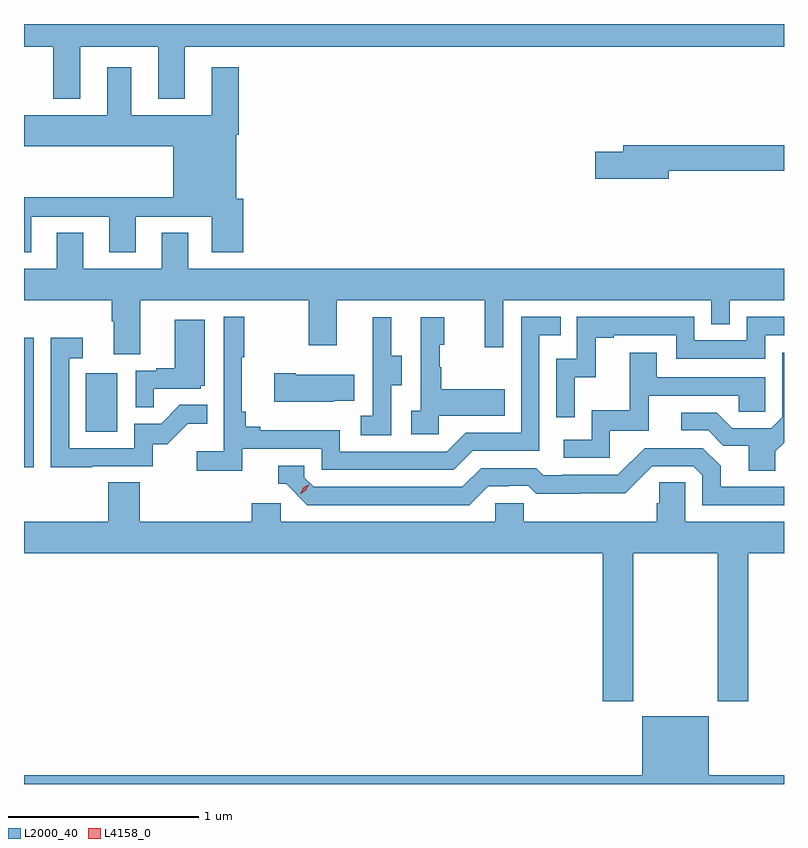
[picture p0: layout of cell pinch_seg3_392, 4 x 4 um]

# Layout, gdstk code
import gdstk
lib = gdstk.Library(unit=1e-6, precision=1e-09)
def R(c, l, rs):  # rectangles x0, y0, x1, y1
    for r in rs: c.add(gdstk.rectangle(r[:2], r[2:], *l))
def P(c, l, *ps):  # polygons
    for p in ps: c.add(gdstk.Polygon(p, *l))
L2000_40 = (2000, 40)
L4158_0 = (4158, 0)

pinch_seg3_392 = lib.new_cell('pinch_seg3_392')
R(pinch_seg3_392, L2000_40, [(925.122,693.376,925.173,694.057), (925.448,693.564,925.612,693.871)])
P(pinch_seg3_392, L2000_40, [(925.417,695.588),(925.829,695.588),(925.829,695.315),(925.969,695.315),(925.969,695.588),(929.122,695.588),(929.122,695.709),(925.122,695.709),(925.122,695.588),(925.277,695.588),(925.277,695.315),(925.417,695.315)],
  [(925.159,694.695),(925.571,694.695),(925.571,694.509),(925.711,694.509),(925.711,694.695),(926.111,694.695),(926.111,694.509),(926.276,694.509),(926.276,694.788),(926.239,694.788),(926.239,695.126),(926.252,695.126),(926.252,695.482),(926.111,695.482),(926.111,695.23),(925.687,695.23),(925.687,695.482),(925.559,695.482),(925.559,695.23),(925.122,695.23),(925.122,695.066),(925.907,695.066),(925.907,694.796),(925.122,694.796),(925.122,694.509),(925.159,694.509)],
  [(928.516,694.936),(929.122,694.936),(929.122,695.072),(928.277,695.072),(928.277,695.036),(928.128,695.036),(928.128,694.894),(928.516,694.894)],
  [(925.735,694.256),(926.62,694.256),(926.62,694.017),(926.767,694.017),(926.767,694.256),(927.548,694.256),(927.548,694.008),(927.645,694.008),(927.645,694.256),(928.74,694.256),(928.74,694.129),(928.836,694.129),(928.836,694.256),(929.122,694.256),(929.122,694.42),(925.987,694.42),(925.987,694.61),(925.847,694.61),(925.847,694.42),(925.435,694.42),(925.435,694.61),(925.295,694.61),(925.295,694.42),(925.122,694.42),(925.122,694.256),(925.583,694.256),(925.583,694.144),(925.595,694.144),(925.595,693.97),(925.735,693.97)],
  [(926.27,693.474),(926.688,693.474),(926.688,693.363),(927.385,693.363),(927.484,693.462),(927.834,693.462),(927.834,694.071),(927.947,694.071),(927.947,694.167),(927.738,694.167),(927.738,693.558),(927.447,693.558),(927.348,693.459),(926.784,693.459),(926.784,693.571),(926.365,693.571),(926.365,693.59),(926.288,693.59),(926.288,693.667),(926.269,693.667),(926.269,693.955),(926.281,693.955),(926.281,694.168),(926.172,694.168),(926.172,693.46),(926.031,693.46),(926.031,693.358),(926.27,693.358)],
  [(928.02,693.851),(928.13,693.851),(928.13,694.059),(928.225,694.059),(928.225,694.071),(928.554,694.071),(928.554,693.948),(929.022,693.948),(929.022,694.071),(929.122,694.071),(929.122,694.167),(928.926,694.167),(928.926,694.044),(928.65,694.044),(928.65,694.167),(928.032,694.167),(928.032,693.948),(927.924,693.948),(927.924,693.639),(928.02,693.639)],
  [(927.054,693.808),(927.109,693.808),(927.109,693.963),(927.055,693.963),(927.055,694.165),(926.957,694.165),(926.957,693.951),(926.958,693.951),(926.958,693.647),(926.895,693.647),(926.895,693.544),(927.054,693.544)],
  [(927.306,693.647),(927.653,693.647),(927.653,693.787),(927.319,693.787),(927.319,693.902),(927.309,693.902),(927.309,694.02),(927.334,694.02),(927.334,694.165),(927.21,694.165),(927.21,693.674),(927.159,693.674),(927.159,693.549),(927.306,693.549)],
  [(925.805,693.789),(926.052,693.789),(926.052,693.804),(926.074,693.804),(926.074,694.153),(925.916,694.153),(925.916,693.898),(925.817,693.898),(925.817,693.885),(925.71,693.885),(925.71,693.691),(925.805,693.691)],
  [(925.481,693.381),(925.8,693.381),(925.8,693.498),(925.876,693.498),(925.983,693.605),(926.087,693.605),(926.087,693.704),(925.943,693.704),(925.845,693.606),(925.701,693.606),(925.701,693.477),(925.359,693.477),(925.359,693.951),(925.432,693.951),(925.432,694.057),(925.263,694.057),(925.263,693.376),(925.481,693.376)],
  [(928.206,693.567),(928.411,693.567),(928.411,693.753),(928.885,693.753),(928.885,693.669),(929.022,693.669),(929.022,693.849),(928.453,693.849),(928.453,693.979),(928.309,693.979),(928.309,693.676),(928.11,693.676),(928.11,693.522),(927.963,693.522),(927.963,693.426),(928.206,693.426)],
  [(929.077,693.46),(929.122,693.505),(929.122,693.979),(929.112,693.979),(929.112,693.639),(929.055,693.582),(928.849,693.582),(928.768,693.663),(928.581,693.663),(928.581,693.57),(928.722,693.57),(928.802,693.49),(928.937,693.49),(928.937,693.358),(929.077,693.358)],
  [(926.753,693.725),(926.861,693.725),(926.861,693.862),(926.551,693.862),(926.551,693.87),(926.439,693.87),(926.439,693.722),(926.753,693.722)],
  [(927.565,693.276),(927.672,693.276),(927.672,693.279),(927.775,693.279),(927.817,693.237),(928.05,693.237),(928.05,693.239),(928.286,693.239),(928.428,693.381),(928.644,693.381),(928.692,693.333),(928.692,693.177),(929.122,693.177),(929.122,693.273),(928.789,693.273),(928.789,693.383),(928.695,693.477),(928.389,693.477),(928.248,693.336),(927.955,693.336),(927.955,693.333),(927.856,693.333),(927.817,693.372),(927.528,693.372),(927.429,693.273),(926.646,693.273),(926.598,693.321),(926.598,693.384),(926.459,693.384),(926.459,693.288),(926.502,693.288),(926.613,693.177),(927.466,693.177)],
  [(928.329,692.924),(928.774,692.924),(928.774,692.145),(928.934,692.145),(928.934,692.924),(929.122,692.924),(929.122,693.088),(928.602,693.088),(928.602,693.296),(928.465,693.296),(928.465,693.186),(928.451,693.186),(928.451,693.088),(927.753,693.088),(927.753,693.186),(927.603,693.186),(927.603,693.088),(926.472,693.088),(926.472,693.186),(926.321,693.186),(926.321,693.088),(925.73,693.088),(925.73,693.296),(925.565,693.296),(925.565,693.088),(925.122,693.088),(925.122,692.924),(928.169,692.924),(928.169,692.145),(928.329,692.145)],
  [(929.122,691.756),(928.726,691.756),(928.726,692.065),(928.376,692.065),(928.376,691.756),(925.122,691.756),(925.122,691.709),(929.122,691.709)])
P(pinch_seg3_392, L4158_0, [(926.576,693.234),(926.576,693.234),(926.591,693.267),(926.622,693.287),(926.622,693.287),(926.622,693.287),(926.606,693.254),(926.576,693.234)])

lib.write_gds('pinch_seg3_392.gds')
